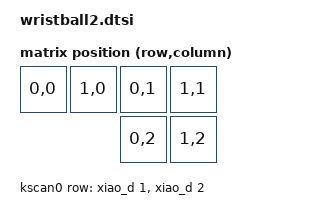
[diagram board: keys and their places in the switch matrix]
#include <dt-bindings/zmk/matrix_transform.h>
#include <physical_layouts.dtsi>

/ {
    chosen {
        zmk,physical-layout = &wristball2_physical_layout;
    };

    default_transform: keymap_transform_0 {
        compatible = "zmk,matrix-transform";
        columns = <3>;
        rows = <2>;               
        map = <
            RC(0,0) RC(1,0) RC(0,1) RC(1,1)
                            RC(0,2) RC(1,2)
        >;
    };
    
    kscan0: kscan {
        compatible = "zmk,kscan-gpio-matrix";
        label = "KSCAN";
        diode-direction = "col2row";
            row-gpios
                = <&xiao_d 1 (GPIO_ACTIVE_HIGH | GPIO_PULL_DOWN)> 
                , <&xiao_d 2 (GPIO_ACTIVE_HIGH | GPIO_PULL_DOWN)>
                ;
    };
};
